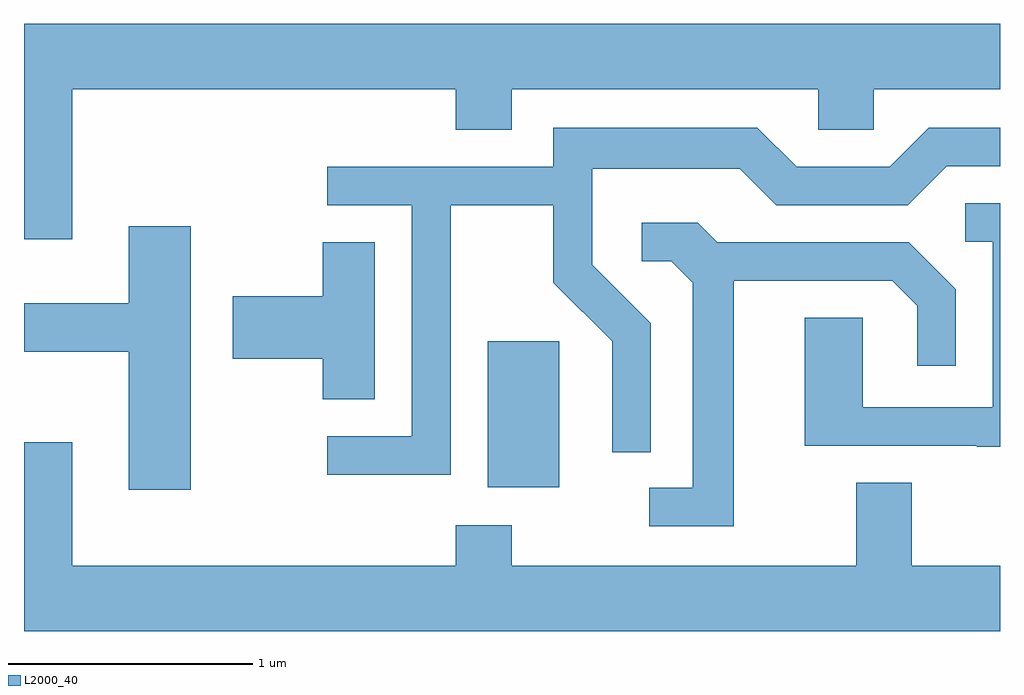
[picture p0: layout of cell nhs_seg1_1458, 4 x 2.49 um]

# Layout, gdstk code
import gdstk
lib = gdstk.Library(unit=1e-6, precision=1e-09)
def R(c, l, rs):  # rectangles x0, y0, x1, y1
    for r in rs: c.add(gdstk.rectangle(r[:2], r[2:], *l))
def P(c, l, *ps):  # polygons
    for p in ps: c.add(gdstk.Polygon(p, *l))
L2000_40 = (2000, 40)

nhs_seg1_1458 = lib.new_cell('nhs_seg1_1458')
R(nhs_seg1_1458, L2000_40, [(231.511,935.686,231.804,936.284)])
P(nhs_seg1_1458, L2000_40, [(229.809,937.316),(231.381,937.316),(231.381,937.151),(231.609,937.151),(231.609,937.316),(232.866,937.316),(232.866,937.151),(233.094,937.151),(233.094,937.316),(233.611,937.316),(233.611,937.584),(229.611,937.584),(229.611,936.701),(229.809,936.701)],
  [(231.359,936.841),(231.781,936.841),(231.781,936.524),(232.021,936.284),(232.021,935.828),(232.179,935.828),(232.179,936.357),(231.939,936.597),(231.939,936.991),(232.544,936.991),(232.694,936.841),(233.232,936.841),(233.392,937.001),(233.611,937.001),(233.611,937.159),(233.319,937.159),(233.159,936.999),(232.777,936.999),(232.617,937.159),(231.781,937.159),(231.781,936.999),(230.853,936.999),(230.853,936.841),(231.201,936.841),(231.201,935.894),(230.853,935.894),(230.853,935.736),(231.359,935.736)],
  [(233.611,936.849),(233.468,936.849),(233.468,936.691),(233.581,936.691),(233.581,936.014),(233.049,936.014),(233.049,936.379),(232.811,936.379),(232.811,935.856),(233.515,935.856),(233.515,935.851),(233.611,935.851)],
  [(232.519,936.531),(233.169,936.531),(233.271,936.429),(233.271,936.183),(233.429,936.183),(233.429,936.497),(233.237,936.689),(232.452,936.689),(232.372,936.769),(232.143,936.769),(232.143,936.611),(232.264,936.611),(232.351,936.524),(232.351,935.684),(232.173,935.684),(232.173,935.526),(232.519,935.526)],
  [(230.294,936.754),(230.041,936.754),(230.041,936.439),(229.611,936.439),(229.611,936.241),(230.041,936.241),(230.041,935.676),(230.294,935.676)],
  [(231.049,936.689),(230.836,936.689),(230.836,936.469),(230.466,936.469),(230.466,936.211),(230.836,936.211),(230.836,936.046),(231.049,936.046)],
  [(233.611,935.364),(233.249,935.364),(233.249,935.704),(233.021,935.704),(233.021,935.364),(231.609,935.364),(231.609,935.529),(231.381,935.529),(231.381,935.364),(229.809,935.364),(229.809,935.869),(229.611,935.869),(229.611,935.096),(233.611,935.096)])

lib.write_gds('nhs_seg1_1458.gds')
